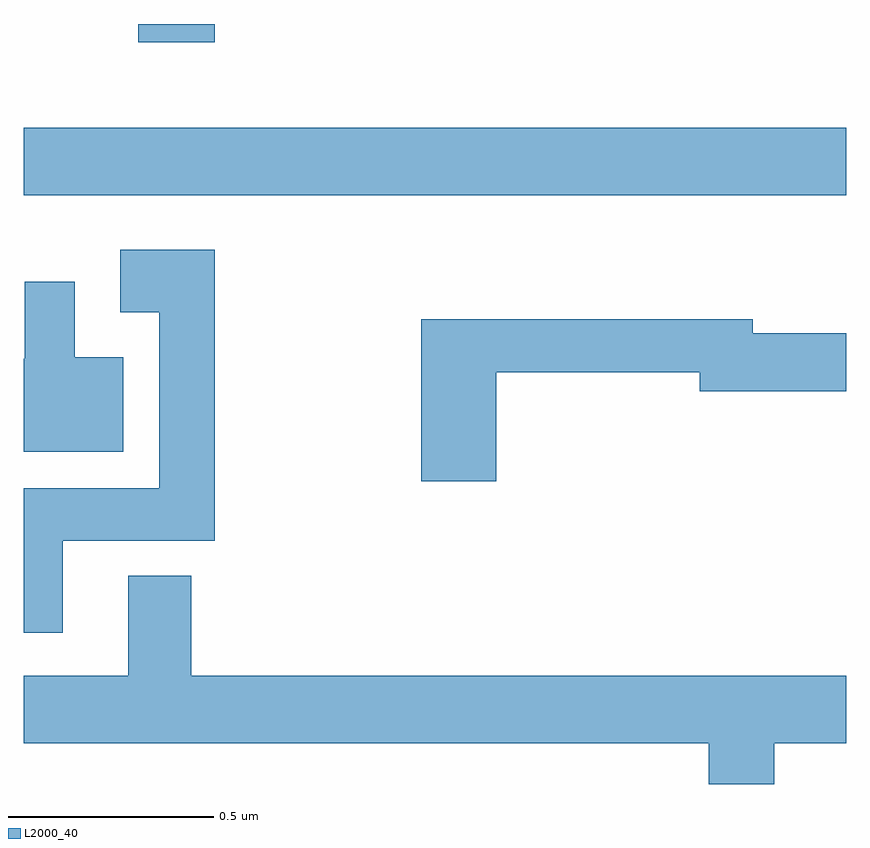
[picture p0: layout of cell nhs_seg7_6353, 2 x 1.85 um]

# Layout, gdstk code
import gdstk
lib = gdstk.Library(unit=1e-6, precision=1e-09)
def R(c, l, rs):  # rectangles x0, y0, x1, y1
    for r in rs: c.add(gdstk.rectangle(r[:2], r[2:], *l))
def P(c, l, *ps):  # polygons
    for p in ps: c.add(gdstk.Polygon(p, *l))
L2000_40 = (2000, 40)

nhs_seg7_6353 = lib.new_cell('nhs_seg7_6353')
R(nhs_seg7_6353, L2000_40, [(197,1032.584,199,1032.748), (197.279,1032.956,197.465,1033)])
P(nhs_seg7_6353, L2000_40, [(197.095,1031.744),(197.465,1031.744),(197.465,1032.451),(197.235,1032.451),(197.235,1032.299),(197.33,1032.299),(197.33,1031.872),(197,1031.872),(197,1031.52),(197.095,1031.52)],
  [(197.242,1032.19),(197.125,1032.19),(197.125,1032.373),(197.003,1032.373),(197.003,1032.186),(197,1032.186),(197,1031.96),(197.242,1031.96)],
  [(198.149,1032.154),(198.644,1032.154),(198.644,1032.107),(199,1032.107),(199,1032.249),(198.772,1032.249),(198.772,1032.283),(197.966,1032.283),(197.966,1031.889),(198.149,1031.889)],
  [(198.825,1031.252),(199,1031.252),(199,1031.416),(197.408,1031.416),(197.408,1031.659),(197.255,1031.659),(197.255,1031.416),(197,1031.416),(197,1031.252),(198.665,1031.252),(198.665,1031.153),(198.825,1031.153)])

lib.write_gds('nhs_seg7_6353.gds')
